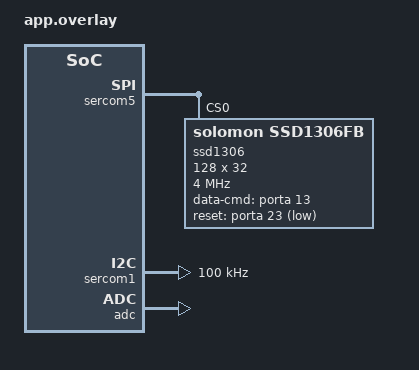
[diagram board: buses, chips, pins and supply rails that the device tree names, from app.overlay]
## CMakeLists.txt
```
cmake_minimum_required(VERSION 3.20.0)

find_package(Zephyr REQUIRED HINTS $ENV{ZEPHYR_BASE})
project(sensors_oled_monitor)

target_sources(app PRIVATE src/x.c)
```

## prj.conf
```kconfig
# Console
CONFIG_CONSOLE=y
CONFIG_UART_CONSOLE=y

# SPI (OLED1)
CONFIG_SPI=y

# I2C (IO1 Temperature)
CONFIG_I2C=y

# ADC (IO1 Light Sensor)
CONFIG_ADC=y

# Display
CONFIG_DISPLAY=y
CONFIG_SSD1306=y
CONFIG_CHARACTER_FRAMEBUFFER=y

# GPIO
CONFIG_GPIO=y

# Heap e Stack
CONFIG_HEAP_MEM_POOL_SIZE=4096
CONFIG_MAIN_STACK_SIZE=2048

# Logging - sem floating point no printk para economia
CONFIG_LOG=y
CONFIG_PRINTK=y
```

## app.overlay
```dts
/*
 * SAMR21 com OLED1 (EXT1) + IO1 (EXT3)
 * Sensor de luz via ADC
 */

#include <dt-bindings/pinctrl/samr21g-pinctrl.h>
#include <dt-bindings/gpio/gpio.h>

/ {
	chosen {
		zephyr,display = &ssd1306;
	};
};

/* EXT1: OLED1 (SPI) */
&sercom5 {
	status = "okay";
	compatible = "atmel,sam0-spi";
	dipo = <0>;
	dopo = <1>;
	#address-cells = <1>;
	#size-cells = <0>;
	
	pinctrl-0 = <&sercom5_spi_default_custom>;
	pinctrl-names = "default";

	ssd1306: ssd1306@0 {
		compatible = "solomon,ssd1306fb";
		reg = <0>;
		spi-max-frequency = <4000000>;
		width = <128>;
		height = <32>;
		segment-offset = <0>;
		page-offset = <0>;
		display-offset = <0>;
		multiplex-ratio = <31>;
		prechargep = <0xF1>;
		com-sequential;
		data-cmd-gpios = <&porta 13 GPIO_ACTIVE_HIGH>;
		reset-gpios = <&porta 23 GPIO_ACTIVE_LOW>;
	};
};

&pinctrl {
	sercom5_spi_default_custom: sercom5_spi_default_custom {
		group1 {
			pinmux = <PB2D_SERCOM5_PAD0>,
				 <PB3D_SERCOM5_PAD1>,
				 <PB22D_SERCOM5_PAD2>,
				 <PB23D_SERCOM5_PAD3>;
		};
	};
};

/* EXT3: IO1 - I2C para futuro */
&sercom1 {
	status = "okay";
	compatible = "atmel,sam0-i2c";
	clock-frequency = <100000>;
	#address-cells = <1>;
	#size-cells = <0>;
	
	pinctrl-0 = <&sercom1_i2c_default>;
	pinctrl-names = "default";
};

/* ADC - Sensor de luz TEMT6000 no pin 3 do EXT3 (PA06/AIN6) */
&adc {
	status = "okay";
};
```

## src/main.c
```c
#include <zephyr/kernel.h>
#include <zephyr/device.h>
#include <zephyr/drivers/gpio.h>
#include <zephyr/drivers/i2c.h>
#include <zephyr/drivers/adc.h>
#include <zephyr/drivers/display.h>
#include <zephyr/display/cfb.h>
#include <stdio.h>

/* LEDs do OLED1 - active LOW */
#define LED1_PIN 18  /* PA18 */
#define LED2_PIN 19  /* PA19 */
#define LED3_PIN 28  /* PA28 */

/* Botões do OLED1 */
#define BTN1_PIN 22  /* PA22 */
#define BTN2_PIN 6   /* PA06 */
#define BTN3_PIN 7   /* PA07 */

/* Sensor de temperatura I2C */
#define TEMP_SENSOR_ADDR 0x4F
#define TEMP_REG 0x00

/* ADC para sensor de luz */
#define ADC_CHANNEL 6
#define ADC_RESOLUTION 12
#define ADC_GAIN ADC_GAIN_1
#define ADC_REFERENCE ADC_REF_INTERNAL
#define ADC_ACQUISITION_TIME ADC_ACQ_TIME_DEFAULT

/* Estrutura de dados dos sensores */
struct sensor_data {
	float temperature;
	uint16_t light_raw;
	float light_percent;
	bool temp_valid;
	bool light_valid;
};

/* Protótipos */
static int read_temperature(const struct device *i2c, float *temp);
static int read_light_sensor(const struct device *adc, uint16_t *raw, float *percent);
static void update_display(const struct device *display, struct sensor_data *data);
static void control_leds(const struct device *gpio, struct sensor_data *data);

/* Configuração do ADC */
static const struct adc_channel_cfg adc_cfg = {
	.gain = ADC_GAIN,
	.reference = ADC_REFERENCE,
	.acquisition_time = ADC_ACQUISITION_TIME,
	.channel_id = ADC_CHANNEL,
};

int main(void)
{
	const struct device *gpio_dev;
	const struct device *display;
	const struct device *i2c_dev;
	const struct device *adc_dev;
	struct sensor_data data = {0};
	int16_t adc_buffer;
	struct adc_sequence adc_seq = {
		.channels = BIT(ADC_CHANNEL),
		.buffer = &adc_buffer,
		.buffer_size = sizeof(adc_buffer),
		.resolution = ADC_RESOLUTION,
	};
	
	k_sleep(K_MSEC(500));
	
	printk("\n\n");
	printk("=============================================\n");
	printk(" SAMR21 + OLED1 + IO1 Xplained Pro\n");
	printk(" Monitoramento de Temperatura e Luz\n");
	printk("=============================================\n\n");

	/* ========== GPIO (OLED1 LEDs e Botões) ========== */
	gpio_dev = DEVICE_DT_GET(DT_NODELABEL(porta));
	if (!device_is_ready(gpio_dev)) {
		printk("[ERRO] GPIO nao disponivel\n");
		return -1;
	}
	
	gpio_pin_configure(gpio_dev, LED1_PIN, GPIO_OUTPUT_HIGH);
	gpio_pin_configure(gpio_dev, LED2_PIN, GPIO_OUTPUT_HIGH);
	gpio_pin_configure(gpio_dev, LED3_PIN, GPIO_OUTPUT_HIGH);
	gpio_pin_configure(gpio_dev, BTN1_PIN, GPIO_INPUT | GPIO_PULL_UP);
	gpio_pin_configure(gpio_dev, BTN2_PIN, GPIO_INPUT | GPIO_PULL_UP);
	gpio_pin_configure(gpio_dev, BTN3_PIN, GPIO_INPUT | GPIO_PULL_UP);
	
	printk("[OK] GPIO configurado\n");

	/* ========== Display (OLED1) ========== */
	display = DEVICE_DT_GET(DT_CHOSEN(zephyr_display));
	if (device_is_ready(display)) {
		printk("[OK] Display SSD1306\n");
		if (cfb_framebuffer_init(display) == 0) {
			cfb_framebuffer_clear(display, false);
			cfb_framebuffer_set_font(display, 0);
			cfb_print(display, "Inicializando", 0, 0);
			cfb_print(display, "Sensores...", 0, 16);
			cfb_framebuffer_finalize(display);
		}
	} else {
		printk("[WARN] Display nao disponivel\n");
	}

	/* ========== I2C - Sensor de Temperatura ========== */
	i2c_dev = DEVICE_DT_GET(DT_ALIAS(i2c_0));
	if (device_is_ready(i2c_dev)) {
		printk("[OK] I2C para AT30TSE758\n");
		data.temp_valid = true;
	} else {
		printk("[WARN] I2C nao disponivel\n");
		data.temp_valid = false;
	}

	/* ========== ADC - Sensor de Luz ========== */
	adc_dev = DEVICE_DT_GET(DT_NODELABEL(adc));
	if (device_is_ready(adc_dev)) {
		if (adc_channel_setup(adc_dev, &adc_cfg) == 0) {
			printk("[OK] ADC configurado (Canal %d)\n", ADC_CHANNEL);
			data.light_valid = true;
		} else {
			printk("[WARN] Falha ao configurar ADC\n");
			data.light_valid = false;
		}
	} else {
		printk("[WARN] ADC nao disponivel\n");
		data.light_valid = false;
	}

	printk("\n=============================================\n");
	printk(" Sistema Iniciado!\n");
	printk("=============================================\n\n");

	/* Teste LEDs */
	for (int i = 0; i < 3; i++) {
		gpio_pin_set(gpio_dev, LED1_PIN, 0);
		gpio_pin_set(gpio_dev, LED2_PIN, 0);
		gpio_pin_set(gpio_dev, LED3_PIN, 0);
		k_sleep(K_MSEC(100));
		gpio_pin_set(gpio_dev, LED1_PIN, 1);
		gpio_pin_set(gpio_dev, LED2_PIN, 1);
		gpio_pin_set(gpio_dev, LED3_PIN, 1);
		k_sleep(K_MSEC(100));
	}

	/* ========== Loop Principal ========== */
	int counter = 0;
	
	while (1) {
		printk("\n[%d] ========================================\n", counter);
		
		/* Lê temperatura via I2C */
		if (data.temp_valid) {
			if (read_temperature(i2c_dev, &data.temperature) == 0) {
				int temp_int = (int)data.temperature;
				int temp_frac = (int)((data.temperature - temp_int) * 100);
				printk("  Temperatura: %d.%02d C\n", temp_int, temp_frac);
			} else {
				printk("  Temperatura: Erro leitura\n");
			}
		}
		
		/* Lê luz via ADC */
		if (data.light_valid) {
			if (adc_read(adc_dev, &adc_seq) == 0) {
				data.light_raw = adc_buffer;
				data.light_percent = (data.light_raw * 100.0f) / 4095.0f;
				int light_pct = (int)data.light_percent;
				printk("  Luz: %d/4095 (%d%%)\n", data.light_raw, light_pct);
			} else {
				printk("  Luz: Erro leitura ADC\n");
			}
		}
		
		/* Atualiza display */
		if (device_is_ready(display)) {
			update_display(display, &data);
		}
		
		/* Controla LEDs baseado nos sensores */
		control_leds(gpio_dev, &data);
		
		/* Verifica botão para reset */
		if (gpio_pin_get(gpio_dev, BTN1_PIN) == 0) {
			printk("  [BTN1] Reset!\n");
			if (device_is_ready(display)) {
				cfb_framebuffer_clear(display, false);
				cfb_print(display, "RESET", 40, 12);
				cfb_framebuffer_finalize(display);
				k_sleep(K_MSEC(500));
			}
		}
		
		counter++;
		k_sleep(K_SECONDS(2));
	}

	return 0;
}

/* ========== Funções Auxiliares ========== */

static int read_temperature(const struct device *i2c, float *temp)
{
	uint8_t reg = TEMP_REG;
	uint8_t data[2];
	
	if (i2c_write_read(i2c, TEMP_SENSOR_ADDR, &reg, 1, data, 2) != 0) {
		return -1;
	}
	
	int16_t raw = (data[0] << 8) | data[1];
	*temp = raw / 256.0f;  /* Resolução de 1/256 °C */
	
	return 0;
}

static void update_display(const struct device *display, struct sensor_data *data)
{
	char line1[32];
	char line2[32];
	
	cfb_framebuffer_clear(display, false);
	
	if (data->temp_valid) {
		int temp_int = (int)data->temperature;
		int temp_frac = (int)((data->temperature - temp_int) * 10);
		snprintf(line1, sizeof(line1), "T:%d.%dC", temp_int, temp_frac);
	} else {
		snprintf(line1, sizeof(line1), "T:N/A");
	}
	
	if (data->light_valid) {
		int light_pct = (int)data->light_percent;
		snprintf(line2, sizeof(line2), "L:%d%%", light_pct);
	} else {
		snprintf(line2, sizeof(line2), "L:N/A");
	}
	
	cfb_print(display, line1, 0, 0);
	cfb_print(display, line2, 0, 16);
	cfb_framebuffer_finalize(display);
}

static void control_leds(const struct device *gpio, struct sensor_data *data)
{
	/* LED1: Temperatura alta (>25°C) */
	if (data->temp_valid && data->temperature > 25.0f) {
		gpio_pin_set(gpio, LED1_PIN, 0);
	} else {
		gpio_pin_set(gpio, LED1_PIN, 1);
	}
	
	/* LED2: Pouca luz (<30%) */
	if (data->light_valid && data->light_percent < 30.0f) {
		gpio_pin_set(gpio, LED2_PIN, 0);
	} else {
		gpio_pin_set(gpio, LED2_PIN, 1);
	}
	
	/* LED3: Sistema ativo (pisca) */
	static bool led3_state = false;
	led3_state = !led3_state;
	gpio_pin_set(gpio, LED3_PIN, led3_state ? 0 : 1);
}
```

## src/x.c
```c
#include <zephyr/kernel.h>
#include <zephyr/device.h>
#include <zephyr/drivers/gpio.h>
#include <zephyr/drivers/i2c.h>
#include <zephyr/drivers/adc.h>
#include <zephyr/drivers/display.h>
#include <zephyr/display/cfb.h>

#define LED1_PIN 18
#define LED2_PIN 19  
#define LED3_PIN 28
#define BTN1_PIN 22

#define TEMP_SENSOR_ADDR 0x4F
#define TEMP_REG 0x00

struct sensor_data {
	float temperature;
	uint16_t light_raw;
	int light_percent;
	bool temp_valid;
	bool light_valid;
	int counter;
};

static int read_temperature(const struct device *i2c, float *temp)
{
	uint8_t reg = TEMP_REG;
	uint8_t data[2];
	
	if (i2c_write_read(i2c, TEMP_SENSOR_ADDR, &reg, 1, data, 2) != 0) {
		return -1;
	}
	
	int16_t raw = (data[0] << 8) | data[1];
	*temp = raw / 256.0f;
	return 0;
}

static int read_light(const struct device *adc, uint16_t *raw, int *percent)
{
	int16_t buffer;
	
	/* Tenta vários canais possíveis */
	int channels[] = {0, 1, 2, 6, 16};  /* Canais mais prováveis */
	
	for (int i = 0; i < 5; i++) {
		int ch = channels[i];
		
		struct adc_channel_cfg cfg = {
			.gain = ADC_GAIN_1_2,
			.reference = ADC_REF_VDD_1_2,
			.acquisition_time = ADC_ACQ_TIME_DEFAULT,
			.channel_id = ch,
		};
		
		struct adc_sequence seq = {
			.channels = BIT(ch),
			.buffer = &buffer,
			.buffer_size = sizeof(buffer),
			.resolution = 12,
		};
		
		if (adc_channel_setup(adc, &cfg) == 0) {
			if (adc_read(adc, &seq) == 0) {
				/* Se encontrar valor razoável (não saturado) */
				if (buffer < 4000 && buffer > 100) {
					*raw = buffer;
					*percent = (buffer * 100) / 4095;
					return ch;  /* Retorna o canal encontrado */
				}
			}
		}
	}
	
	/* Fallback: usa canal 1 */
	struct adc_channel_cfg cfg = {
		.gain = ADC_GAIN_1_2,
		.reference = ADC_REF_VDD_1_2,
		.acquisition_time = ADC_ACQ_TIME_DEFAULT,
		.channel_id = 1,
	};
	
	struct adc_sequence seq = {
		.channels = BIT(1),
		.buffer = &buffer,
		.buffer_size = sizeof(buffer),
		.resolution = 12,
	};
	
	adc_channel_setup(adc, &cfg);
	adc_read(adc, &seq);
	*raw = buffer;
	*percent = (buffer * 100) / 4095;
	return 1;
}

static void update_display(const struct device *display, struct sensor_data *data)
{
	char lines[3][32];
	
	cfb_framebuffer_clear(display, false);
	
	if (data->temp_valid) {
		int t_int = (int)data->temperature;
		int t_frac = (int)((data->temperature - t_int) * 10);
		snprintf(lines[0], 32, "T:%d.%dC", t_int, t_frac);
	} else {
		snprintf(lines[0], 32, "T:N/A");
	}
	
	if (data->light_valid) {
		snprintf(lines[1], 32, "L:%d%%", data->light_percent);
	} else {
		snprintf(lines[1], 32, "L:N/A");
	}
	
	snprintf(lines[2], 32, "#%d", data->counter);
	
	cfb_print(display, lines[0], 0, 0);
	cfb_print(display, lines[1], 0, 12);
	cfb_print(display, lines[2], 0, 24);
	cfb_framebuffer_finalize(display);
}

int main(void)
{
	const struct device *gpio_dev;
	const struct device *display;
	const struct device *i2c_dev;
	const struct device *adc_dev;
	struct sensor_data data = {0};
	int light_channel = -1;
	
	k_sleep(K_MSEC(500));
	
	printk("\n=============================================\n");
	printk(" SAMR21 + OLED1 + IO1\n");
	printk("=============================================\n\n");

	/* GPIO */
	gpio_dev = DEVICE_DT_GET(DT_NODELABEL(porta));
	if (device_is_ready(gpio_dev)) {
		gpio_pin_configure(gpio_dev, LED1_PIN, GPIO_OUTPUT_HIGH);
		gpio_pin_configure(gpio_dev, LED2_PIN, GPIO_OUTPUT_HIGH);
		gpio_pin_configure(gpio_dev, LED3_PIN, GPIO_OUTPUT_HIGH);
		gpio_pin_configure(gpio_dev, BTN1_PIN, GPIO_INPUT | GPIO_PULL_UP);
		printk("[OK] GPIO\n");
	}

	/* Display */
	display = DEVICE_DT_GET(DT_CHOSEN(zephyr_display));
	if (device_is_ready(display)) {
		cfb_framebuffer_init(display);
		cfb_framebuffer_clear(display, false);
		cfb_framebuffer_set_font(display, 0);
		cfb_print(display, "Iniciando...", 0, 12);
		cfb_framebuffer_finalize(display);
		printk("[OK] Display\n");
	}

	/* I2C - Temperatura */
	i2c_dev = DEVICE_DT_GET(DT_ALIAS(i2c_0));
	if (device_is_ready(i2c_dev)) {
		printk("[OK] I2C - AT30TSE758\n");
		data.temp_valid = true;
	} else {
		printk("[WARN] I2C indisponivel\n");
		data.temp_valid = false;
	}

	/* ADC - Luz */
	adc_dev = DEVICE_DT_GET(DT_NODELABEL(adc));
	if (device_is_ready(adc_dev)) {
		printk("[OK] ADC\n");
		data.light_valid = true;
	} else {
		printk("[WARN] ADC indisponivel\n");
		data.light_valid = false;
	}

	printk("\n=============================================\n\n");

	/* Loop principal */
	while (1) {
		printk("[%d] ", data.counter);
		
		/* Temperatura */
		if (data.temp_valid) {
			if (read_temperature(i2c_dev, &data.temperature) == 0) {
				int t_int = (int)data.temperature;
				int t_frac = (int)((data.temperature - t_int) * 100);
				printk("T:%d.%02dC ", t_int, t_frac);
				
				gpio_pin_set(gpio_dev, LED1_PIN, 
					data.temperature > 25.0f ? 0 : 1);
			} else {
				printk("T:Err ");
			}
		}
		
		/* Luz */
		if (data.light_valid) {
			light_channel = read_light(adc_dev, &data.light_raw, 
				&data.light_percent);
			printk("L:%d%% (CH%d) ", data.light_percent, light_channel);
			
			gpio_pin_set(gpio_dev, LED2_PIN, 
				data.light_percent < 30 ? 0 : 1);
		}
		
		printk("\n");
		
		/* Display */
		if (device_is_ready(display)) {
			update_display(display, &data);
		}
		
		/* LED3 pisca */
		gpio_pin_toggle(gpio_dev, LED3_PIN);
		
		/* Botão reset */
		if (gpio_pin_get(gpio_dev, BTN1_PIN) == 0) {
			data.counter = 0;
			printk("  [RESET]\n");
		}
		
		data.counter++;
		k_sleep(K_SECONDS(2));
	}

	return 0;
}
```
